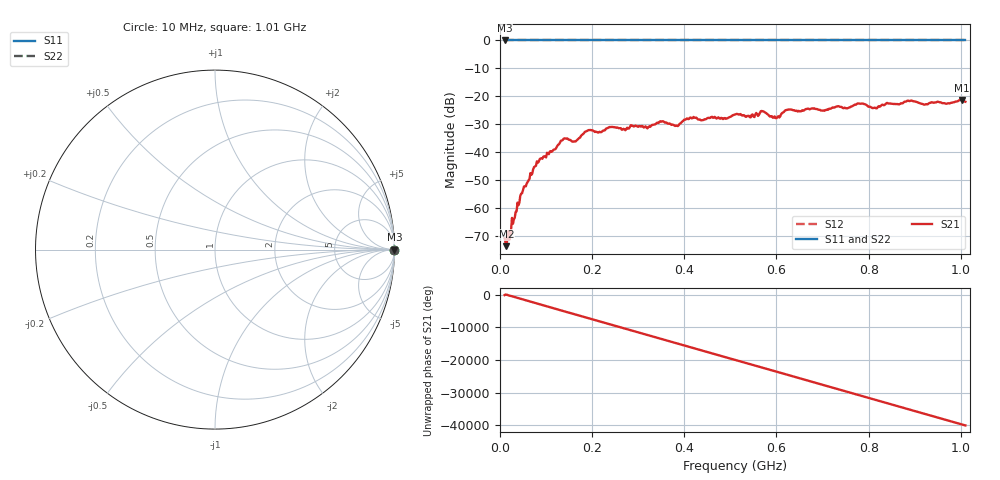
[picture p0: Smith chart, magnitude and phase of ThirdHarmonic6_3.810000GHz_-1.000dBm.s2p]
! 8/17/2025 1:12:13 PM
! C:\ANRITSUVNA\TEMP\TEMP.S2P
! CHANNEL.1
! TR.MEASUREMENT
! RAW.DATA
! RF.CORRECTION.OFF
! AVERAGING.OFF
! IF.BANDWIDTH: 5KHZ
! SWEEPTYPE:  FREQ.SWEEP(Linear)
! Reference Plane Port Info
! PORT:  PORT1  PORT2
! DISTANCE:  0  m  0  m
! TIME:  0  s  0  s
! PHASE.OFFSET:  0  deg.  0  deg.
! LOSS:  0  dB  0  dB
! REF.LOSS:  0  dB  0  dB
! REF.FREQ:  0  Hz  0  Hz
! Power Info
! POWER:  -20  dBm  -20  dBm
! EFF.POWER:  -20  dBm  -20  dBm
! SOURCE.ATTEN:  0  dB  0  dB
! TEST.ATTEN:  0  dB  0  dB
# GHZ S RI R 50.0
! FREQ.GHZ  S11RE  S11IM  S21RE  S21IM  S12RE  S12IM  S22RE  S22IM
!; PortSelection: Port_12
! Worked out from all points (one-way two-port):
!   501 points, 10 MHz to 1.01 GHz, reference 50 ohm
!   highest |S21| = -21.22 dB at 1.002 GHz (marker M1); lowest = -73.5 dB at 14 MHz (marker M2)
!   lowest |S11| = 0.0 dB at 10 MHz (marker M3)
!   |S11| at or under -10 dB: nowhere
!   |S22| runs from 0.0 to 0.0 dB; largest |S21 - S12| = 1.1
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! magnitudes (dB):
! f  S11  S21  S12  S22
! 10 MHz  0.0  -70.6  0.0  0.0
! 14 MHz  0.0  -73.5  0.0  0.0
! 18 MHz  0.0  -68.2  0.0  0.0
! 48 MHz  0.0  -54.6  0.0  0.0
! 84 MHz  0.0  -43.3  0.0  0.0
! 136 MHz  0.0  -35.6  0.0  0.0
! 162 MHz  0.0  -36.1  0.0  0.0
! 178 MHz  0.0  -33.7  0.0  0.0
! 194 MHz  0.0  -32.0  0.0  0.0
! 344 MHz  0.0  -29.5  0.0  0.0
! 384 MHz  0.0  -30.5  0.0  0.0
! 416 MHz  0.0  -27.8  0.0  0.0
! 510 MHz  0.0  -26.5  0.0  0.0
! 570 MHz  0.0  -25.3  0.0  0.0
! 602 MHz  0.0  -27.4  0.0  0.0
! 624 MHz  0.0  -24.8  0.0  0.0
! 678 MHz  0.0  -24.2  0.0  0.0
! 780 MHz  0.0  -22.6  0.0  0.0
! 814 MHz  0.0  -24.0  0.0  0.0
! 844 MHz  0.0  -22.5  0.0  0.0
! 1.002 GHz  0.0  -21.2  0.0  0.0
! 1.01 GHz  0.0  -21.9  0.0  0.0
